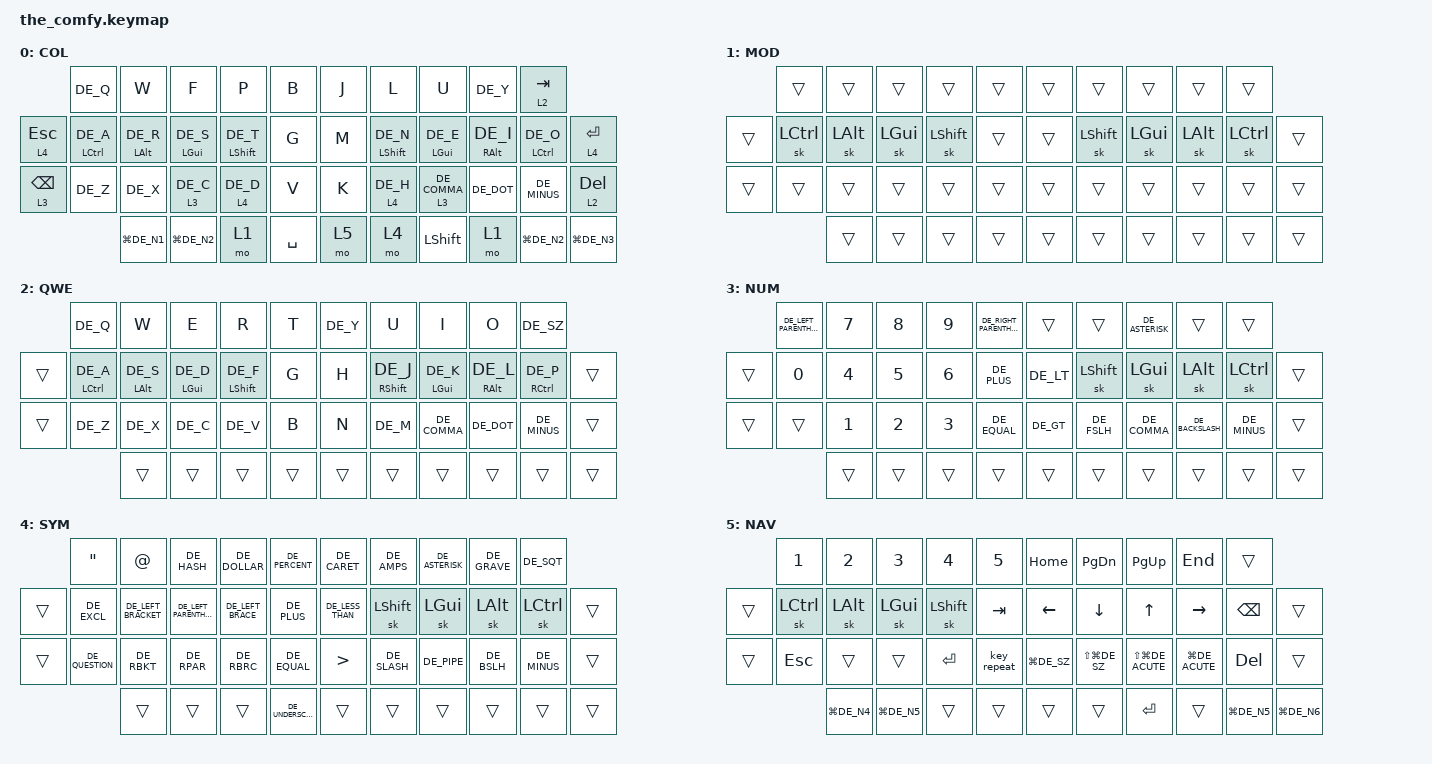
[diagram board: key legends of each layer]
// This file was generated from a template. Edit it to match your keyboard. test test
// See https://zmk.dev/docs/development/hardware-integration/new-shield for more instructions.

#include "keys_de.h"
#include <behaviors.dtsi>
#include <dt-bindings/zmk/keys.h>

&mt {
    flavor = "hold-preferred";
    bindings = <&kp>, <&kp>;

    tapping-term-ms = <250>;
    quick-tap-ms = <150>;
    require-prior-idle-ms = <125>;
};

&lt {
    quick-tap-ms = <200>;
    tapping-term-ms = <250>;
};

/ {
    // Define a default keymap here.
    // See https://zmk.dev/docs/development/hardware-integration/new-shield#default-keymap.

    combos {
        compatible = "zmk,combos";

        ae {
            bindings = <&kp DE_A_UMLAUT>;
            key-positions = <11 18>;
            layers = <0>;
            timeout-ms = <60>;
        };

        ue {
            bindings = <&kp DE_U_UMLAUT>;
            key-positions = <18 7>;
            timeout-ms = <60>;
            layers = <0>;
        };

        oe {
            bindings = <&kp DE_O_UMLAUT>;
            key-positions = <18 20>;
        };

        boot {
            bindings = <&bootloader>;
            key-positions = <22 33 4 5>;
            require-prior-idle-ms = <500>;
        };

        screenshot {
            bindings = <&kp PRINTSCREEN>;
            key-positions = <27 26>;
        };

        to_col {
            bindings = <&to 0>;
            key-positions = <22 33>;
            layers = <2>;
            require-prior-idle-ms = <500>;
        };

        to_qwe {
            bindings = <&to 2>;
            key-positions = <22 33>;
            layers = <0>;
            require-prior-idle-ms = <500>;
        };

        sz {
            bindings = <&kp DE_SZ>;
            key-positions = <13 18>;
        };

        num_combo_2 {
            bindings = <&mo 3>;
            key-positions = <18 30>;
            layers = <0>;
            require-prior-idle-ms = <100>;
        };
    };

    behaviors {
        hml: hml {
            compatible = "zmk,behavior-hold-tap";
            label = "HML";
            bindings = <&kp>, <&kp>;

            #binding-cells = <2>;
            tapping-term-ms = <280>;
            quick-tap-ms = <175>;
            require-prior-idle-ms = <150>;
            flavor = "balanced";
            hold-trigger-on-release;
            hold-trigger-key-positions = <5 6 7 16 17 18 28 29 30 8 9 19 20 21 31 32 33>;
        };

        hmr: hmr {
            compatible = "zmk,behavior-hold-tap";
            label = "HMR";
            bindings = <&kp>, <&kp>;

            #binding-cells = <2>;
            tapping-term-ms = <280>;
            quick-tap-ms = <175>;
            require-prior-idle-ms = <150>;
            flavor = "balanced";
            hold-trigger-key-positions = <0 1 2 3 4 10 11 12 13 14 15 22 23 24 25 26 27>;
            hold-trigger-on-release;
        };

        back_del: back_del {
            compatible = "zmk,behavior-tap-dance";
            label = "BACK_DEL";
            #binding-cells = <0>;
            bindings = <&kp BACKSPACE>, <&kp DEL>;
        };

        to_col: to_col {
            compatible = "zmk,behavior-tap-dance";
            label = "TO_COL";
            #binding-cells = <0>;
            bindings = <&kp TAB>, <&kp TAB>, <&to 0>;
        };

        to_qwe: to_qwe {
            compatible = "zmk,behavior-tap-dance";
            label = "TO_QWE";
            #binding-cells = <0>;
            bindings = <&kp TAB>, <&kp TAB>, <&to 2>;
        };
    };

    keymap {
        compatible = "zmk,keymap";

        COL {
            display-name = "COL";
            bindings = <
              &kp DE_Q         &kp W               &kp F               &kp P                 &kp B                      &kp J           &kp L                 &kp U               &kp DE_Y             &lt 2 TAB
&lt 4 ESCAPE  &hml LCTRL DE_A  &hml LEFT_ALT DE_R  &hml LEFT_GUI DE_S  &hml LEFT_SHIFT DE_T  &kp G                      &kp M           &hmr LEFT_SHIFT DE_N  &hmr LEFT_GUI DE_E  &hmr RIGHT_ALT DE_I  &hmr LCTRL DE_O  &lt 4 ENTER
&lt 3 BSPC    &kp DE_Z         &kp DE_X            &lt 3 DE_C          &lt 4 DE_D            &kp V                      &kp K           &lt 4 DE_H            &lt 3 DE_COMMA      &kp DE_DOT           &kp DE_MINUS     &lt 2 DELETE
                               &kp LG(DE_N1)       &kp LG(DE_N2)       &mo 1                 &kp SPACE  &mo 5    &mo 4  &kp LEFT_SHIFT  &mo 1                 &kp LG(DE_N2)       &kp LG(DE_N3)
            >;
        };

        MOD {
            bindings = <
        &trans     &trans    &trans    &trans     &trans                    &trans  &trans     &trans    &trans    &trans
&trans  &sk LCTRL  &sk LALT  &sk LGUI  &sk LSHFT  &trans                    &trans  &sk LSHFT  &sk LGUI  &sk LALT  &sk LCTRL  &trans
&trans  &trans     &trans    &trans    &trans     &trans                    &trans  &trans     &trans    &trans    &trans     &trans
                   &trans    &trans    &trans     &trans  &trans    &trans  &trans  &trans     &trans    &trans
            >;
        };

        QWE {
            display-name = "QWE";
            bindings = <
        &kp DE_Q         &kp W               &kp E               &kp R                 &kp T                     &kp DE_Y  &kp U                  &kp I               &kp O                &kp DE_SZ
&trans  &hml LCTRL DE_A  &hml LEFT_ALT DE_S  &hml LEFT_GUI DE_D  &hml LEFT_SHIFT DE_F  &kp G                     &kp H     &hmr RIGHT_SHIFT DE_J  &hmr LEFT_GUI DE_K  &hmr RIGHT_ALT DE_L  &hmr RCTRL DE_P  &trans
&trans  &kp DE_Z         &kp DE_X            &kp DE_C            &kp DE_V              &kp B                     &kp N     &kp DE_M               &kp DE_COMMA        &kp DE_DOT           &kp DE_MINUS     &trans
                         &trans              &trans              &trans                &trans  &trans    &trans  &trans    &trans                 &trans              &trans
            >;
        };

        NUM {
            bindings = <
        &kp DE_LEFT_PARENTHESIS  &kp N7  &kp N8  &kp N9  &kp DE_RIGHT_PARENTHESIS                    &trans     &trans          &kp DE_ASTERISK  &trans            &trans
&trans  &kp N0                   &kp N4  &kp N5  &kp N6  &kp DE_PLUS                                 &kp DE_LT  &sk LEFT_SHIFT  &sk LEFT_GUI     &sk LEFT_ALT      &sk LCTRL     &trans
&trans  &trans                   &kp N1  &kp N2  &kp N3  &kp DE_EQUAL                                &kp DE_GT  &kp DE_FSLH     &kp DE_COMMA     &kp DE_BACKSLASH  &kp DE_MINUS  &trans
                                 &trans  &trans  &trans  &trans                    &trans    &trans  &trans     &trans          &trans           &trans
            >;

            label = "NUM";
        };

        SYM {
            bindings = <
        &kp DQT          &kp AT               &kp DE_HASH              &kp DE_DOLLAR      &kp DE_PERCENT                       &kp DE_CARET      &kp DE_AMPS   &kp DE_ASTERISK  &kp DE_GRAVE  &kp DE_SQT
&trans  &kp DE_EXCL      &kp DE_LEFT_BRACKET  &kp DE_LEFT_PARENTHESIS  &kp DE_LEFT_BRACE  &kp DE_PLUS                          &kp DE_LESS_THAN  &sk LSHFT     &sk LEFT_GUI     &sk LEFT_ALT  &sk LCTRL     &trans
&trans  &kp DE_QUESTION  &kp DE_RBKT          &kp DE_RPAR              &kp DE_RBRC        &kp DE_EQUAL                         &kp GT            &kp DE_SLASH  &kp DE_PIPE      &kp DE_BSLH   &kp DE_MINUS  &trans
                         &trans               &trans                   &trans             &kp DE_UNDERSCORE  &trans    &trans  &trans            &trans        &trans           &trans
            >;
        };

        NAV {
            bindings = <
        &kp N1      &kp N2         &kp N3         &kp N4     &kp N5                         &kp HOME        &kp PG_DN          &kp PG_UP             &kp END           &trans
&trans  &sk LCTRL   &sk LEFT_ALT   &sk LEFT_GUI   &sk LSHFT  &kp TAB                        &kp LEFT_ARROW  &kp DOWN           &kp UP                &kp RIGHT         &kp BSPC  &trans
&trans  &kp ESCAPE  &trans         &trans         &kp ENTER  &key_repeat                    &kp LG(DE_SZ)   &kp LS(LG(DE_SZ))  &kp LS(LG(DE_ACUTE))  &kp LG(DE_ACUTE)  &kp DEL   &trans
                    &kp LG(DE_N4)  &kp LG(DE_N5)  &trans     &trans       &trans    &trans  &kp ENTER       &trans             &kp LG(DE_N5)         &kp LG(DE_N6)
            >;

            label = "NAV";
        };
    };
};
